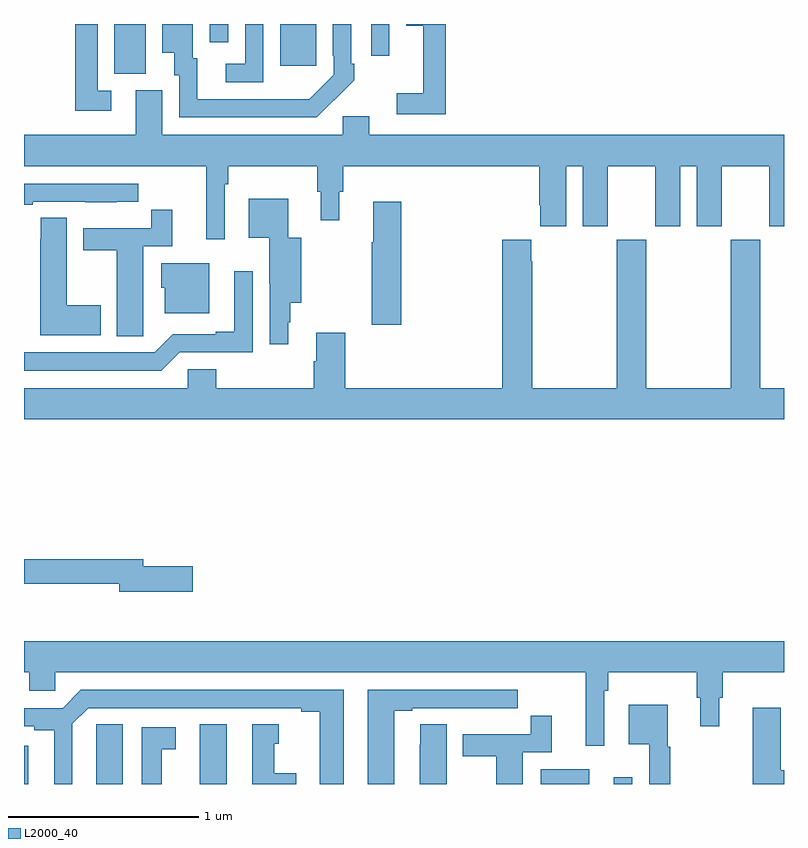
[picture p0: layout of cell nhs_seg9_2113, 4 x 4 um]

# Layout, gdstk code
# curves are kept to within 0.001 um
import gdstk
lib = gdstk.Library(unit=1e-6, precision=1e-09)
def R(c, l, rs):  # rectangles x0, y0, x1, y1
    for r in rs: c.add(gdstk.rectangle(r[:2], r[2:], *l))
def P(c, l, *ps):  # polygons
    for p in ps: c.add(gdstk.Polygon(p, *l))
L2000_40 = (2000, 40)

nhs_seg9_2113 = lib.new_cell('nhs_seg9_2113')
R(nhs_seg9_2113, L2000_40, [(231,1194.5,231.022,1194.702), (231.926,1194.5,232.066,1194.814), (233.72,1194.5,233.974,1194.577), (234.104,1194.5,234.201,1194.535), (231.476,1198.237,231.64,1198.5), (232.349,1198.281,232.537,1198.5), (232.827,1198.332,232.923,1198.5), (231.978,1198.404,232.074,1198.5)])
P(nhs_seg9_2113, L2000_40, [(232.631,1198.099),(232.632,1198.098),(232.737,1198.203),(232.737,1198.291),(232.722,1198.291),(232.722,1198.5),(232.626,1198.5),(232.626,1198.333),(232.629,1198.333),(232.629,1198.233),(232.501,1198.105),(232.397,1198.104),(231.913,1198.104),(231.913,1198.32),(231.889,1198.32),(231.889,1198.5),(231.728,1198.5),(231.728,1198.349),(231.791,1198.349),(231.791,1198.23),(231.816,1198.23),(231.816,1198.008),(232.54,1198.008)],
  [(231.46,1198.149),(231.387,1198.149),(231.387,1198.5),(231.271,1198.5),(231.271,1198.044),(231.46,1198.044)],
  [(233.219,1198.5),(233.012,1198.5),(233.012,1198.49),(233.102,1198.49),(233.102,1198.135),(232.962,1198.135),(232.962,1198.026),(233.219,1198.026)],
  [(232.26,1198.5),(232.164,1198.5),(232.164,1198.29),(232.062,1198.29),(232.062,1198.194),(232.26,1198.194)],
  [(232.056,1197.656),(232.076,1197.656),(232.076,1197.752),(232.543,1197.752),(232.543,1197.618),(232.562,1197.618),(232.562,1197.468),(232.66,1197.468),(232.66,1197.618),(232.679,1197.618),(232.679,1197.752),(233.711,1197.752),(233.711,1197.547),(233.717,1197.547),(233.717,1197.435),(233.854,1197.435),(233.854,1197.752),(233.942,1197.752),(233.942,1197.435),(234.073,1197.435),(234.073,1197.752),(234.323,1197.752),(234.323,1197.435),(234.454,1197.435),(234.454,1197.752),(234.542,1197.752),(234.542,1197.435),(234.673,1197.435),(234.673,1197.752),(234.923,1197.752),(234.923,1197.435),(235,1197.435),(235,1197.916),(232.816,1197.916),(232.816,1198.014),(232.677,1198.014),(232.677,1197.916),(231.727,1197.916),(231.727,1198.152),(231.587,1198.152),(231.587,1197.916),(231,1197.916),(231,1197.752),(231.959,1197.752),(231.959,1197.366),(232.056,1197.366)],
  [(231.046,1197.564),(231.322,1197.564),(231.322,1197.563),(231.488,1197.563),(231.488,1197.564),(231.601,1197.564),(231.601,1197.66),(231,1197.66),(231,1197.549),(231.046,1197.549)],
  [(232.39,1196.931),(232.402,1196.931),(232.402,1197.032),(232.458,1197.032),(232.458,1197.376),(232.39,1197.376),(232.39,1197.58),(232.184,1197.58),(232.184,1197.374),(232.292,1197.374),(232.292,1197.136),(232.293,1197.136),(232.293,1196.814),(232.39,1196.814)],
  [(232.985,1197.565),(232.838,1197.565),(232.838,1197.352),(232.831,1197.352),(232.831,1196.916),(232.985,1196.916)],
  [(231.627,1196.968),(231.628,1196.968),(231.628,1197.33),(231.779,1197.33),(231.779,1197.523),(231.67,1197.523),(231.67,1197.426),(231.311,1197.426),(231.311,1197.31),(231.488,1197.31),(231.488,1196.857),(231.627,1196.857)],
  [(231.403,1197.021),(231.226,1197.021),(231.226,1197.479),(231.087,1197.479),(231.087,1197.371),(231.086,1197.371),(231.086,1196.861),(231.403,1196.861)],
  [(235,1196.584),(234.876,1196.584),(234.876,1197.364),(234.721,1197.364),(234.721,1196.584),(234.276,1196.584),(234.276,1197.364),(234.121,1197.364),(234.121,1196.584),(233.676,1196.584),(233.676,1197.251),(233.671,1197.251),(233.671,1197.364),(233.516,1197.364),(233.516,1196.584),(232.691,1196.584),(232.691,1196.875),(232.538,1196.875),(232.538,1196.726),(232.526,1196.726),(232.526,1196.584),(232.013,1196.584),(232.013,1196.682),(231.861,1196.682),(231.861,1196.584),(231,1196.584),(231,1196.42),(235,1196.42)],
  [(231.976,1197.241),(231.722,1197.241),(231.722,1197.111),(231.74,1197.111),(231.74,1196.978),(231.976,1196.978)],
  [(231.819,1196.772),(232.203,1196.772),(232.203,1197.199),(232.106,1197.199),(232.106,1196.881),(232.01,1196.881),(232.01,1196.868),(231.783,1196.868),(231.687,1196.772),(231,1196.772),(231,1196.676),(231.723,1196.676)],
  [(231.889,1195.646),(231.628,1195.646),(231.628,1195.682),(231,1195.682),(231,1195.554),(231.5,1195.554),(231.5,1195.511),(231.889,1195.511)],
  [(231,1195.088),(231.027,1195.088),(231.027,1194.99),(231.165,1194.99),(231.165,1195.088),(233.957,1195.088),(233.957,1194.702),(234.054,1194.702),(234.054,1194.992),(234.074,1194.992),(234.074,1195.088),(234.541,1195.088),(234.541,1194.954),(234.56,1194.954),(234.56,1194.804),(234.658,1194.804),(234.658,1194.954),(234.677,1194.954),(234.677,1195.088),(235,1195.088),(235,1195.252),(231,1195.252)],
  [(231.255,1194.816),(231.339,1194.9),(232.46,1194.9),(232.46,1194.88),(232.556,1194.88),(232.556,1194.5),(232.684,1194.5),(232.684,1194.996),(231.299,1194.996),(231.203,1194.9),(231,1194.9),(231,1194.804),(231.054,1194.804),(231.054,1194.784),(231.158,1194.784),(231.158,1194.5),(231.255,1194.5)],
  [(232.948,1194.885),(233.044,1194.885),(233.044,1194.9),(233.32,1194.9),(233.32,1194.899),(233.486,1194.899),(233.486,1194.9),(233.599,1194.9),(233.599,1194.996),(232.808,1194.996),(232.808,1194.5),(232.948,1194.5)],
  [(234.4,1194.696),(234.388,1194.696),(234.388,1194.916),(234.182,1194.916),(234.182,1194.71),(234.291,1194.71),(234.291,1194.5),(234.4,1194.5)],
  [(235,1194.572),(234.983,1194.572),(234.983,1194.901),(234.836,1194.901),(234.836,1194.5),(235,1194.5)],
  [(233.626,1194.666),(233.777,1194.666),(233.777,1194.859),(233.668,1194.859),(233.668,1194.762),(233.309,1194.762),(233.309,1194.646),(233.486,1194.646),(233.486,1194.5),(233.626,1194.5)],
  [(231.52,1194.815),(231.381,1194.815),(231.381,1194.707),(231.38,1194.707),(231.38,1194.5),(231.52,1194.5)],
  [(233.224,1194.815),(233.085,1194.815),(233.085,1194.707),(233.084,1194.707),(233.084,1194.5),(233.224,1194.5)],
  [(232.432,1194.556),(232.318,1194.556),(232.318,1194.711),(232.342,1194.711),(232.342,1194.814),(232.202,1194.814),(232.202,1194.5),(232.432,1194.5)],
  [(231.724,1194.682),(231.799,1194.682),(231.799,1194.798),(231.62,1194.798),(231.62,1194.5),(231.724,1194.5)])

lib.write_gds('nhs_seg9_2113.gds')
